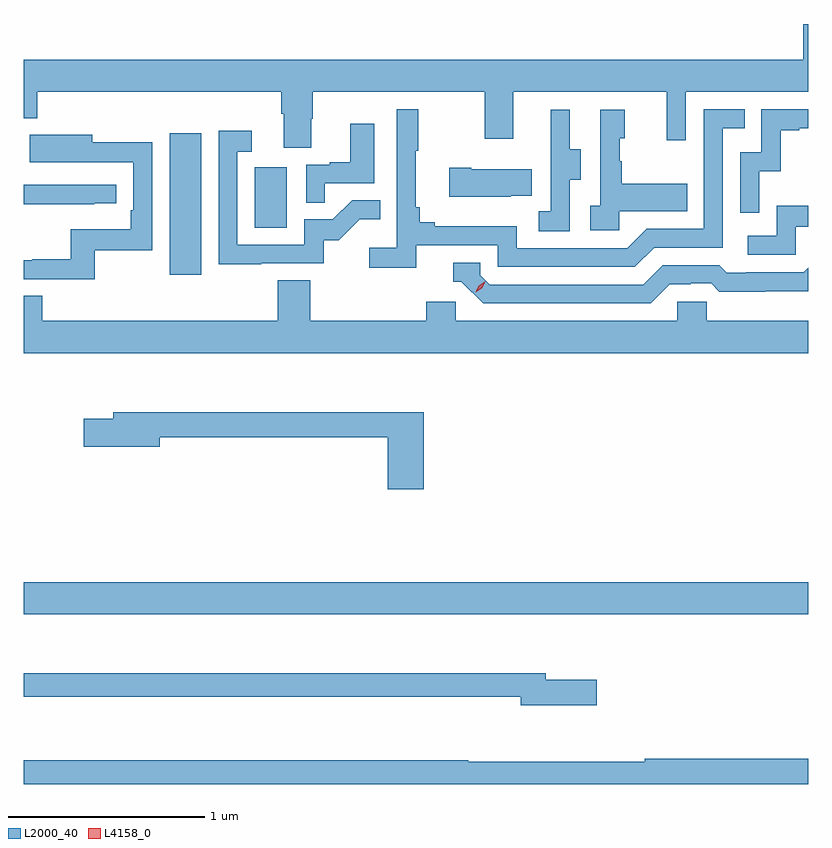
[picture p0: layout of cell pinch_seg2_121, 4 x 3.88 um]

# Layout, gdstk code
import gdstk
lib = gdstk.Library(unit=1e-6, precision=1e-09)
def R(c, l, rs):  # rectangles x0, y0, x1, y1
    for r in rs: c.add(gdstk.rectangle(r[:2], r[2:], *l))
def P(c, l, *ps):  # polygons
    for p in ps: c.add(gdstk.Polygon(p, *l))
L2000_40 = (2000, 40)
L4158_0 = (4158, 0)

pinch_seg2_121 = lib.new_cell('pinch_seg2_121')
R(pinch_seg2_121, L2000_40, [(1059.246,627.656,1063.246,627.82), (1059.989,629.388,1060.15,630.109), (1060.424,629.628,1060.588,629.935)])
P(pinch_seg2_121, L2000_40, [(1060.711,630.183),(1060.719,630.183),(1060.719,630.32),(1061.596,630.32),(1061.596,630.081),(1061.743,630.081),(1061.743,630.32),(1062.524,630.32),(1062.524,630.072),(1062.621,630.072),(1062.621,630.32),(1063.246,630.32),(1063.246,630.666),(1063.22,630.666),(1063.22,630.484),(1059.246,630.484),(1059.246,630.185),(1059.314,630.185),(1059.314,630.32),(1060.559,630.32),(1060.559,630.208),(1060.571,630.208),(1060.571,630.034),(1060.711,630.034)],
  [(1061.246,629.538),(1061.664,629.538),(1061.664,629.427),(1062.361,629.427),(1062.46,629.526),(1062.81,629.526),(1062.81,630.135),(1062.923,630.135),(1062.923,630.231),(1062.714,630.231),(1062.714,629.622),(1062.423,629.622),(1062.324,629.523),(1061.76,629.523),(1061.76,629.635),(1061.341,629.635),(1061.341,629.654),(1061.264,629.654),(1061.264,629.731),(1061.245,629.731),(1061.245,630.019),(1061.257,630.019),(1061.257,630.232),(1061.148,630.232),(1061.148,629.524),(1061.007,629.524),(1061.007,629.422),(1061.246,629.422)],
  [(1062.996,629.915),(1063.106,629.915),(1063.106,630.123),(1063.201,630.123),(1063.201,630.135),(1063.246,630.135),(1063.246,630.231),(1063.008,630.231),(1063.008,630.012),(1062.9,630.012),(1062.9,629.703),(1062.996,629.703)],
  [(1062.282,629.711),(1062.629,629.711),(1062.629,629.851),(1062.295,629.851),(1062.295,629.966),(1062.285,629.966),(1062.285,630.084),(1062.31,630.084),(1062.31,630.229),(1062.186,630.229),(1062.186,629.738),(1062.135,629.738),(1062.135,629.613),(1062.282,629.613)],
  [(1062.03,629.872),(1062.085,629.872),(1062.085,630.027),(1062.031,630.027),(1062.031,630.229),(1061.933,630.229),(1061.933,630.015),(1061.934,630.015),(1061.934,629.711),(1061.871,629.711),(1061.871,629.608),(1062.03,629.608)],
  [(1060.781,629.853),(1061.032,629.853),(1061.032,630.157),(1060.91,630.157),(1060.91,629.962),(1060.807,629.962),(1060.807,629.949),(1060.686,629.949),(1060.686,629.755),(1060.781,629.755)],
  [(1060.457,629.445),(1060.776,629.445),(1060.776,629.562),(1060.852,629.562),(1060.959,629.669),(1061.063,629.669),(1061.063,629.768),(1060.92,629.768),(1060.822,629.67),(1060.677,629.67),(1060.677,629.541),(1060.335,629.541),(1060.335,630.015),(1060.408,630.015),(1060.408,630.121),(1060.239,630.121),(1060.239,629.44),(1060.457,629.44)],
  [(1059.607,629.511),(1059.9,629.511),(1059.9,630.062),(1059.595,630.062),(1059.595,630.1),(1059.277,630.1),(1059.277,629.96),(1059.491,629.96),(1059.491,629.961),(1059.804,629.961),(1059.804,629.716),(1059.791,629.716),(1059.791,629.62),(1059.486,629.62),(1059.486,629.465),(1059.289,629.465),(1059.289,629.46),(1059.246,629.46),(1059.246,629.364),(1059.607,629.364)],
  [(1061.729,629.789),(1061.837,629.789),(1061.837,629.926),(1061.527,629.926),(1061.527,629.934),(1061.415,629.934),(1061.415,629.786),(1061.729,629.786)],
  [(1059.605,629.751),(1059.718,629.751),(1059.718,629.847),(1059.246,629.847),(1059.246,629.746),(1059.605,629.746)],
  [(1063.182,629.631),(1063.246,629.631),(1063.246,629.74),(1063.086,629.74),(1063.086,629.586),(1062.939,629.586),(1062.939,629.49),(1063.182,629.49)],
  [(1062.541,629.34),(1062.648,629.34),(1062.648,629.343),(1062.751,629.343),(1062.793,629.301),(1063.026,629.301),(1063.026,629.303),(1063.246,629.303),(1063.246,629.422),(1063.224,629.4),(1062.931,629.4),(1062.931,629.397),(1062.832,629.397),(1062.793,629.436),(1062.504,629.436),(1062.405,629.337),(1061.622,629.337),(1061.574,629.385),(1061.574,629.448),(1061.435,629.448),(1061.435,629.352),(1061.478,629.352),(1061.589,629.241),(1062.442,629.241)],
  [(1061.297,629.25),(1061.297,629.152),(1060.706,629.152),(1060.706,629.36),(1060.541,629.36),(1060.541,629.152),(1059.341,629.152),(1059.341,629.279),(1059.246,629.279),(1059.246,628.988),(1063.246,628.988),(1063.246,629.152),(1062.729,629.152),(1062.729,629.25),(1062.579,629.25),(1062.579,629.152),(1061.448,629.152),(1061.448,629.25)],
  [(1061.285,628.687),(1059.701,628.687),(1059.701,628.653),(1059.552,628.653),(1059.552,628.511),(1059.94,628.511),(1059.94,628.558),(1061.102,628.558),(1061.102,628.293),(1061.285,628.293)],
  [(1062.169,627.321),(1061.908,627.321),(1061.908,627.355),(1059.246,627.355),(1059.246,627.234),(1061.78,627.234),(1061.78,627.191),(1062.169,627.191)],
  [(1063.246,626.918),(1062.412,626.918),(1062.412,626.903),(1061.512,626.903),(1061.512,626.911),(1059.246,626.911),(1059.246,626.79),(1063.246,626.79)])
P(pinch_seg2_121, L4158_0, [(1061.55,629.299),(1061.55,629.299),(1061.567,629.332),(1061.597,629.351),(1061.598,629.351),(1061.598,629.351),(1061.582,629.318),(1061.551,629.299)])

lib.write_gds('pinch_seg2_121.gds')
